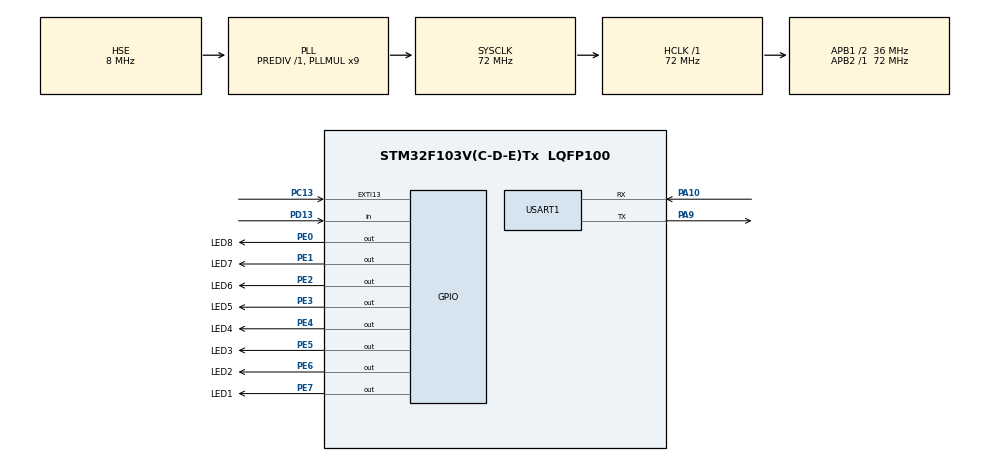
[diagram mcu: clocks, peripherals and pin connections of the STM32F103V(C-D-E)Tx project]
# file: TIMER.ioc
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Dma.Request0=USART1_RX
Dma.Request1=USART1_TX
Dma.USART1_RX.0.Direction=DMA_PERIPH_TO_MEMORY
Dma.USART1_RX.0.Instance=DMA1_Channel5
Dma.USART1_RX.0.MemDataAlignment=DMA_MDATAALIGN_BYTE
Dma.USART1_RX.0.MemInc=DMA_MINC_ENABLE
Dma.USART1_RX.0.Mode=DMA_NORMAL
Dma.USART1_RX.0.PeriphDataAlignment=DMA_PDATAALIGN_BYTE
Dma.USART1_RX.0.PeriphInc=DMA_PINC_DISABLE
Dma.USART1_RX.0.Priority=DMA_PRIORITY_HIGH
Dma.USART1_TX.1.Direction=DMA_MEMORY_TO_PERIPH
Dma.USART1_TX.1.Instance=DMA1_Channel4
Dma.USART1_TX.1.MemDataAlignment=DMA_MDATAALIGN_BYTE
Dma.USART1_TX.1.MemInc=DMA_MINC_ENABLE
Dma.USART1_TX.1.Mode=DMA_NORMAL
Dma.USART1_TX.1.PeriphDataAlignment=DMA_PDATAALIGN_BYTE
Dma.USART1_TX.1.PeriphInc=DMA_PINC_DISABLE
Dma.USART1_TX.1.Priority=DMA_PRIORITY_HIGH
Mcu.Family=STM32F1
Mcu.Name=STM32F103V(C-D-E)Tx
Mcu.Package=LQFP100
NVIC.DMA1_Channel4_IRQn=true\:0\:1\:false\:false\:true\:false\:true
NVIC.DMA1_Channel5_IRQn=true\:0\:1\:false\:false\:true\:false\:true
NVIC.EXTI15_10_IRQn=true\:0\:2\:true\:false\:true\:true\:true
NVIC.PriorityGroup=NVIC_PRIORITYGROUP_2
NVIC.TIM1_UP_IRQn=true\:0\:0\:false\:false\:true\:true\:true
NVIC.USART1_IRQn=true\:0\:0\:false\:false\:true\:true\:true
OSC_IN.Mode=HSE-External-Oscillator
OSC_IN.Signal=RCC_OSC_IN
OSC_OUT.Mode=HSE-External-Oscillator
OSC_OUT.Signal=RCC_OSC_OUT
PA10.Mode=Asynchronous
PA10.Signal=USART1_RX
PA9.Mode=Asynchronous
PA9.Signal=USART1_TX
PC13-TAMPER-RTC.GPIO_ModeDefaultEXTI=GPIO_MODE_IT_FALLING
PC13-TAMPER-RTC.GPIO_PuPd=GPIO_PULLUP
PC13-TAMPER-RTC.Signal=GPXTI13
PC14-OSC32_IN.Mode=LSE-External-Oscillator
PC14-OSC32_IN.Signal=RCC_OSC32_IN
PC15-OSC32_OUT.Mode=LSE-External-Oscillator
PC15-OSC32_OUT.Signal=RCC_OSC32_OUT
PD13.GPIO_PuPd=GPIO_PULLUP
PD13.Signal=GPIO_Input
PE0.GPIO_Label=LED8
PE0.PinState=GPIO_PIN_RESET
PE0.Signal=GPIO_Output
PE1.GPIO_Label=LED7
PE1.Signal=GPIO_Output
PE2.GPIO_Label=LED6
PE2.Signal=GPIO_Output
PE3.GPIO_Label=LED5
PE3.Signal=GPIO_Output
PE4.GPIO_Label=LED4
PE4.Signal=GPIO_Output
PE5.GPIO_Label=LED3
PE5.Signal=GPIO_Output
PE6.GPIO_Label=LED2
PE6.Signal=GPIO_Output
PE7.GPIO_Label=LED1
PE7.Signal=GPIO_Output
ProjectManager.HeapSize=0x200
ProjectManager.StackSize=0x400
ProjectManager.TargetToolchain=MDK-ARM V5
RCC.AHBFreq_Value=72000000
RCC.APB1CLKDivider=RCC_HCLK_DIV2
RCC.APB1Freq_Value=36000000
RCC.APB1TimFreq_Value=72000000
RCC.APB2Freq_Value=72000000
RCC.APB2TimFreq_Value=72000000
RCC.HCLKFreq_Value=72000000
RCC.PLLMUL=RCC_PLL_MUL9
RCC.PLLSourceVirtual=RCC_PLLSOURCE_HSE
RCC.SYSCLKFreq_VALUE=72000000
RCC.SYSCLKSource=RCC_SYSCLKSOURCE_PLLCLK
RCC.USBFreq_Value=72000000
TIM1.AutoReloadPreload=TIM_AUTORELOAD_PRELOAD_DISABLE
TIM1.Period=2000-1
TIM1.Prescaler=36000-1
USART1.VirtualMode=VM_ASYNC
VP_SYS_VS_ND.Mode=No_Debug
VP_TIM1_VS_ClockSourceINT.Mode=Internal
board=custom

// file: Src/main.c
/* USER CODE BEGIN Header */
/**
  ******************************************************************************
  * @file           : main.c
  * @brief          : Main program body
  ******************************************************************************
  * @attention
  *
  * <h2><center>&copy; Copyright (c) 2021 STMicroelectronics.
  * All rights reserved.</center></h2>
  *
  * This software component is licensed by ST under BSD 3-Clause license,
  * the "License"; You may not use this file except in compliance with the
  * License. You may obtain a copy of the License at:
  *                        opensource.org/licenses/BSD-3-Clause
  *
  ******************************************************************************
  */
/* USER CODE END Header */

#include "main.h"
#include "dma.h"
#include "tim.h"
#include "usart.h"
#include "gpio.h"

void SystemClock_Config(void);

/* USER CODE BEGIN 0 */
void InitXXX(void);
uint8_t flag = 0;
/* USER CODE END 0 */

int main(void)
{
  /* USER CODE BEGIN 1 */
	uint8_t len;
  /* USER CODE END 1 */

  /* MCU Configuration--------------------------------------------------------*/

  /* Reset of all peripherals, Initializes the Flash interface and the Systick. */
  HAL_Init();

  /* Configure the system clock */
  SystemClock_Config();

  /* Initialize all configured peripherals */
  MX_GPIO_Init();
  MX_DMA_Init();
  MX_USART1_UART_Init();
  MX_TIM1_Init();
  /* USER CODE BEGIN 2 */
	InitXXX();
  /* USER CODE END 2 */

  /* Infinite loop */
  /* USER CODE BEGIN WHILE */
  while (1)
  {
		if(DMA_usart1_Rx_Flag==1)
		{
			DMA_usart1_Rx_Flag=0;
			RevData_Process();
			len=DMA_usart1_Rx_Size;
			for(uint8_t m=0;m<len;m++)
			{
				USART1_DMA_TX_BUFFER[m] = USART_RX_BUF[m];
			}
      USER_DMA_send(USART1_DMA_TX_BUFFER,len);

		}

		if(flag==1)
		{
			flag = 0;
			printf("\r\nKEY1-->PressDown\r\n");
		}
    /* USER CODE END WHILE */

  }
}

void SystemClock_Config(void)
{
  RCC_OscInitTypeDef RCC_OscInitStruct = {0};
  RCC_ClkInitTypeDef RCC_ClkInitStruct = {0};

  /** Initializes the CPU, AHB and APB busses clocks
  */
  RCC_OscInitStruct.OscillatorType = RCC_OSCILLATORTYPE_HSE;
  RCC_OscInitStruct.HSEState = RCC_HSE_ON;
  RCC_OscInitStruct.HSEPredivValue = RCC_HSE_PREDIV_DIV1;
  RCC_OscInitStruct.HSIState = RCC_HSI_ON;
  RCC_OscInitStruct.PLL.PLLState = RCC_PLL_ON;
  RCC_OscInitStruct.PLL.PLLSource = RCC_PLLSOURCE_HSE;
  RCC_OscInitStruct.PLL.PLLMUL = RCC_PLL_MUL9;
  if (HAL_RCC_OscConfig(&RCC_OscInitStruct) != HAL_OK)
  {
    Error_Handler();
  }
  /** Initializes the CPU, AHB and APB busses clocks
  */
  RCC_ClkInitStruct.ClockType = RCC_CLOCKTYPE_HCLK|RCC_CLOCKTYPE_SYSCLK
                              |RCC_CLOCKTYPE_PCLK1|RCC_CLOCKTYPE_PCLK2;
  RCC_ClkInitStruct.SYSCLKSource = RCC_SYSCLKSOURCE_PLLCLK;
  RCC_ClkInitStruct.AHBCLKDivider = RCC_SYSCLK_DIV1;
  RCC_ClkInitStruct.APB1CLKDivider = RCC_HCLK_DIV2;
  RCC_ClkInitStruct.APB2CLKDivider = RCC_HCLK_DIV1;

  if (HAL_RCC_ClockConfig(&RCC_ClkInitStruct, FLASH_LATENCY_2) != HAL_OK)
  {
    Error_Handler();
  }
}

/* USER CODE BEGIN 4 */
void InitXXX(void)
{
	//HAL_UART_Receive_IT(&huart1, (uint8_t *)aRxBuffer, RXBUFFERSIZE);//该函数会开启接收中断：标志位UART_IT_RXNE，并且设置接收缓冲以及接收缓冲接收最大数据量

	__HAL_UART_ENABLE_IT(&huart1,UART_IT_IDLE);//使能IDLE中断
	HAL_UART_Receive_DMA(&huart1,USART1_DMA_RX_BUFFER,USART1_DMA_RX_SIZE);//打开DMA接收，数据存入USART1_DMA_RX_BUFFER数组中

	HAL_TIM_Base_Start_IT(&htim1);
}

void HAL_GPIO_EXTI_Callback(uint16_t GPIO_Pin)
{
	switch(GPIO_Pin)
	{
		case GPIO_PIN_13:
			flag =1;
			break;
		default:
			break;

	}
}

/* USER CODE END 4 */

void Error_Handler(void)
{
}

/************************ (C) COPYRIGHT STMicroelectronics *****END OF FILE****/
